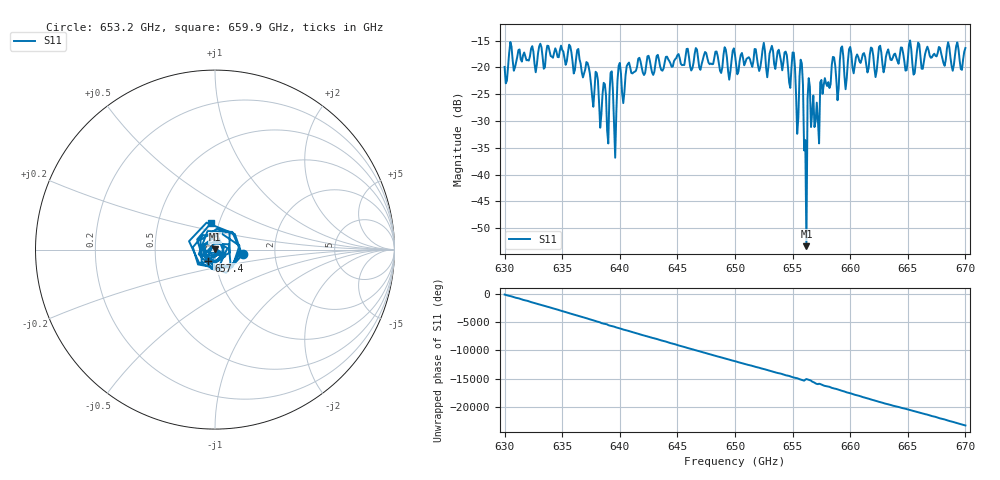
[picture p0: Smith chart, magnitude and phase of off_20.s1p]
!Created with skrf (http://scikit-rf.org).
# GHz S RI R 50.0
!freq ReS11 ImS11
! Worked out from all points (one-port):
!   401 points, 630 GHz to 670 GHz, reference 50 ohm
!   lowest |S11| = -53.3 dB at 656.2 GHz (marker M1), VSWR 1.00, Z = 50.1 + j0.155 ohm
!   |S11| at or under -10 dB: start of sweep to end of sweep
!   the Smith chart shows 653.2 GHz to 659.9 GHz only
!   S11 on the Smith chart (normalised r, x): 653.2 GHz: 1.37, -0.07; 657.4 GHz: 0.92, -0.12; 659.9 GHz: 0.91, +0.27
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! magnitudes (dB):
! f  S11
! 630 GHz  -19.9
! 630.5 GHz  -15.3
! 635 GHz  -16.7
! 637.2 GHz  -19.2
! 638.9 GHz  -31.8
! 639.3 GHz  -20.7
! 639.6 GHz  -36.8
! 640 GHz  -19.1
! 640.3 GHz  -26.7
! 640.7 GHz  -19.3
! 645 GHz  -17.7
! 650 GHz  -17.7
! 653.2 GHz  -16.0
! 655 GHz  -17.2
! 655.4 GHz  -32.4
! 655.7 GHz  -18.6
! 655.9 GHz  -23.2
! 656 GHz  -35.5
! 656.2 GHz  -53.3
! 656.5 GHz  -23.6
! 657.1 GHz  -26.6
! 657.4 GHz  -22.8
! 658.5 GHz  -18.0
! 658.9 GHz  -26.1
! 659.9 GHz  -16.6
! 660 GHz  -16.2
! 665 GHz  -18.5
! 670 GHz  -16.4
